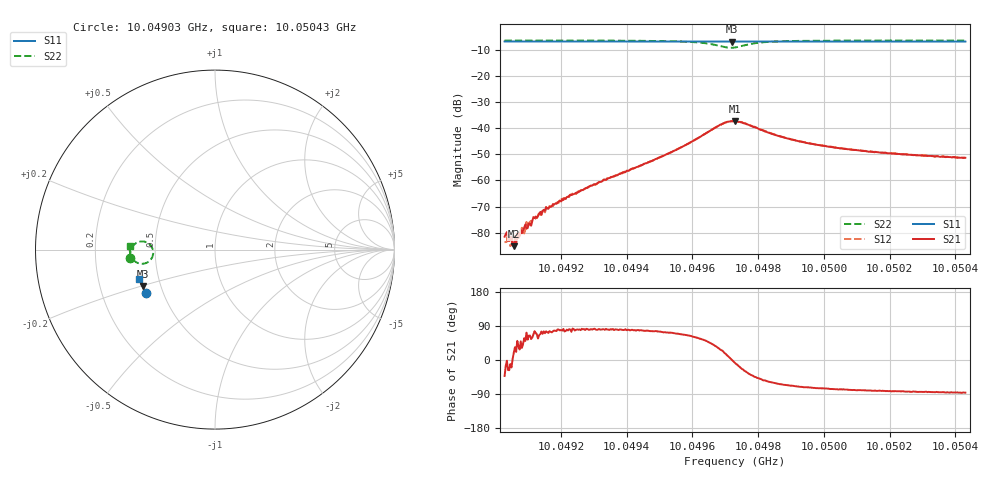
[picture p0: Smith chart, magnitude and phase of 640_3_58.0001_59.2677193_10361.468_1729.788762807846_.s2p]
#  HZ  S  RI  R  50.00
! Rohde & Schwarz Vector Network Analyzer
! Rohde-Schwarz,ZNB20-2Port,1311601062101988,3.16
! Created: UTC 3/21/2024, 1:19:01 AM
! freq[Hz]  re:S11  im:S11  re:S21  im:S21  re:S12  im:S12  re:S22  im:S22
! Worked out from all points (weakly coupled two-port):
!   401 points, 10.04903 GHz to 10.05043 GHz, reference 50 ohm
!   highest |S21| = -37.31 dB at 10.04973 GHz (marker M1); lowest = -85.2 dB at 10.04906 GHz (marker M2)
!   lowest |S11| = -6.9 dB at 10.04972 GHz (marker M3), VSWR 2.65, Z = 19.8 - j10.1 ohm
!   |S11| at or under -10 dB: nowhere
!   |S22| runs from -9.3 to -6.5 dB; largest |S21 - S12| = 0.0012
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1.0049028e10  -0.3837 -0.2444  6.19e-05 -5.62e-05  6.46e-05 -1.34e-05  -0.4733 -0.0473
1.0049056e10  -0.3848 -0.2429  5.19e-05 1.87e-05  7.81e-05 1.2e-05  -0.4734 -0.0451
1.0049077e10  -0.3854 -0.2415  7.25e-05 8.38e-05  4.64e-05 7.29e-05  -0.4733 -0.0431
1.0049084e10  -0.3856 -0.2411  8.12e-05 7.27e-05  6.59e-05 7.78e-05  -0.4736 -0.0426
1.0049102e10  -0.3862 -0.2401  6.42e-05 0.000134  6.54e-05 0.000135  -0.4734 -0.041
1.004912e10  -0.3868 -0.2392  4.65e-05 0.000184  3.12e-05 0.000178  -0.4735 -0.0396
1.0049141e10  -0.3875 -0.2379  5.58e-05 0.000211  4.6e-05 0.000249  -0.4734 -0.0377
1.0049204e10  -0.3897 -0.2343  9.38e-05 0.000425  5.62e-05 0.000409  -0.4733 -0.0315
1.0049263e10  -0.3915 -0.2308  8.78e-05 0.000652  2.63e-05 0.000672  -0.4731 -0.0255
1.0049498e10  -0.3986 -0.2169  0.000698 0.00263  0.000544 0.00266  -0.4647 0.00801
1.0049575e10  -0.4009 -0.2122  0.00182 0.00424  0.00157 0.00433  -0.4515 0.0268
1.0049659e10  -0.4029 -0.2068  0.00692 0.00632  0.00648 0.00674  -0.3997 0.0454
1.0049698e10  -0.4033 -0.2047  0.012 0.00397  0.0117 0.00469  -0.3548 0.0182
1.0049719e10  -0.4036 -0.2038  0.0135 0.000273  0.0136 0.00135  -0.3442 -0.0177
1.0049729e10  -0.404 -0.2036  0.0135 -0.00179  0.0136 -0.000738  -0.3476 -0.0368
1.0049768e10  -0.4054 -0.2018  0.00976 -0.00658  0.0103 -0.00598  -0.3897 -0.0767
1.0049817e10  -0.4071 -0.199  0.00523 -0.00717  0.00576 -0.00686  -0.4344 -0.0729
1.0049877e10  -0.409 -0.1954  0.00279 -0.00605  0.00321 -0.00592  -0.4568 -0.0548
1.0049964e10  -0.4116 -0.19  0.00143 -0.00477  0.00174 -0.00471  -0.4683 -0.0348
1.0050055e10  -0.4139 -0.1845  0.000856 -0.004  0.00108 -0.00394  -0.4726 -0.0203
1.0050199e10  -0.4173 -0.1756  0.000456 -0.00326  0.000651 -0.00326  -0.4747 -0.00333
1.005043e10  -0.4227 -0.1613  0.000179 -0.0027  0.000347 -0.0027  -0.4753 0.0176
